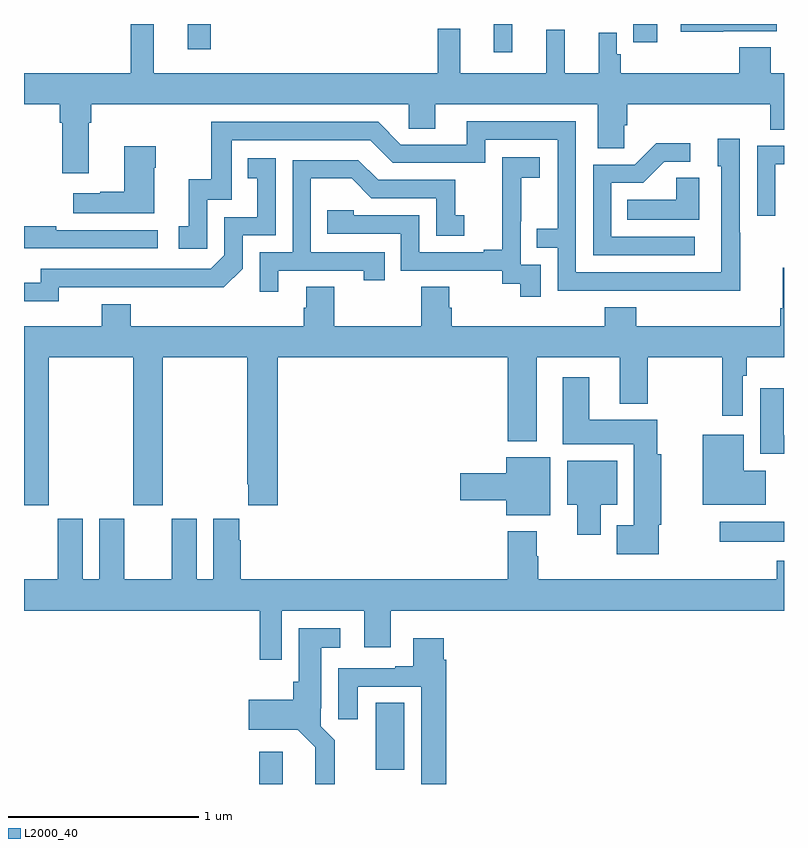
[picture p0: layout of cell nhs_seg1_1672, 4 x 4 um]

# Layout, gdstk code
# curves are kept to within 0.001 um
import gdstk
lib = gdstk.Library(unit=1e-6, precision=1e-09)
def R(c, l, rs):  # rectangles x0, y0, x1, y1
    for r in rs: c.add(gdstk.rectangle(r[:2], r[2:], *l))
def P(c, l, *ps):  # polygons
    for p in ps: c.add(gdstk.Polygon(p, *l))
L2000_40 = (2000, 40)

nhs_seg1_1672 = lib.new_cell('nhs_seg1_1672')
R(nhs_seg1_1672, L2000_40, [(204.239,504.199,204.361,504.37), (204.851,504.273,205,504.626), (206.661,505.475,207,505.579), (205.472,508.05,205.569,508.199), (203.861,508.065,203.983,508.199), (206.206,508.104,206.332,508.199)])
P(nhs_seg1_1672, L2000_40, [(206.681,508.161),(206.961,508.161),(206.961,508.199),(206.457,508.199),(206.457,508.159),(206.681,508.159)],
  [(203,507.776),(203.189,507.776),(203.189,507.68),(203.201,507.68),(203.201,507.414),(203.341,507.414),(203.341,507.68),(203.354,507.68),(203.354,507.776),(205.026,507.776),(205.026,507.649),(205.165,507.649),(205.165,507.776),(206.021,507.776),(206.021,507.544),(206.16,507.544),(206.16,507.667),(206.174,507.667),(206.174,507.776),(206.927,507.776),(206.927,507.643),(207,507.643),(207,507.94),(206.93,507.94),(206.93,508.076),(206.765,508.076),(206.765,507.94),(206.141,507.94),(206.141,508.041),(206.121,508.041),(206.121,508.153),(206.024,508.153),(206.024,507.94),(205.847,507.94),(205.847,508.168),(205.748,508.168),(205.748,507.94),(205.295,507.94),(205.295,508.174),(205.177,508.174),(205.177,507.94),(203.683,507.94),(203.683,508.199),(203.562,508.199),(203.562,507.94),(203,507.94)],
  [(206.769,507.101),(206.766,507.101),(206.766,507.595),(206.651,507.595),(206.651,507.45),(206.67,507.45),(206.67,506.892),(205.905,506.892),(205.905,507.687),(205.331,507.687),(205.331,507.564),(204.984,507.564),(204.864,507.684),(203.985,507.684),(203.985,507.382),(203.867,507.382),(203.867,507.135),(203.814,507.135),(203.814,507.015),(203.964,507.015),(203.964,507.273),(204.093,507.273),(204.093,507.588),(204.822,507.588),(204.942,507.468),(205.428,507.468),(205.428,507.591),(205.809,507.591),(205.809,507.122),(205.699,507.122),(205.699,507.021),(205.809,507.021),(205.809,506.796),(206.769,506.795)],
  [(206.53,507.078),(206.091,507.078),(206.091,507.363),(206.26,507.363),(206.371,507.474),(206.506,507.474),(206.506,507.572),(206.327,507.572),(206.214,507.459),(205.995,507.459),(205.995,506.982),(206.53,506.982)],
  [(206.955,507.462),(207,507.462),(207,507.558),(206.859,507.558),(206.859,507.189),(206.955,507.189)],
  [(203.686,507.443),(203.694,507.443),(203.694,507.556),(203.528,507.556),(203.528,507.317),(203.402,507.317),(203.402,507.307),(203.259,507.307),(203.259,507.203),(203.686,507.203)],
  [(205.719,506.931),(205.614,506.931),(205.614,507.161),(205.616,507.161),(205.616,507.389),(205.714,507.389),(205.714,507.499),(205.516,507.499),(205.516,507.293),(205.517,507.293),(205.517,507.01),(205.421,507.01),(205.421,506.997),(205.08,506.997),(205.08,507.192),(204.735,507.192),(204.735,507.219),(204.595,507.219),(204.595,507.096),(204.984,507.096),(204.984,506.901),(205.518,506.901),(205.518,506.833),(205.611,506.833),(205.611,506.763),(205.719,506.763)],
  [(203.184,506.814),(204.052,506.813),(204.15,506.91),(204.15,507.087),(204.324,507.087),(204.324,507.493),(204.178,507.493),(204.178,507.387),(204.227,507.387),(204.227,507.183),(204.054,507.183),(204.054,506.982),(203.982,506.91),(203.088,506.91),(203.088,506.838),(203,506.838),(203,506.741),(203.184,506.741)],
  [(204.337,506.901),(204.788,506.901),(204.788,506.85),(204.899,506.85),(204.899,506.997),(204.51,506.997),(204.51,507.386),(204.724,507.386),(204.828,507.282),(205.17,507.282),(205.17,507.084),(205.318,507.084),(205.318,507.193),(205.269,507.193),(205.269,507.378),(204.865,507.378),(204.76,507.483),(204.414,507.483),(204.414,506.997),(204.24,506.997),(204.24,506.79),(204.337,506.79)],
  [(206.554,507.389),(206.433,507.389),(206.433,507.274),(206.176,507.274),(206.176,507.17),(206.554,507.17)],
  [(203.704,507.114),(203.171,507.114),(203.171,507.134),(203,507.134),(203,507.018),(203.704,507.018)],
  [(203.13,506.444),(203.575,506.444),(203.575,505.665),(203.73,505.665),(203.73,506.444),(204.175,506.444),(204.175,505.777),(204.179,505.777),(204.179,505.665),(204.335,505.665),(204.335,506.444),(205.547,506.444),(205.547,506.003),(205.699,506.003),(205.699,506.444),(206.135,506.444),(206.135,506.201),(206.283,506.201),(206.283,506.444),(206.676,506.444),(206.676,506.136),(206.784,506.136),(206.784,506.348),(206.804,506.348),(206.804,506.444),(207,506.444),(207,506.917),(206.993,506.917),(206.993,506.704),(206.981,506.704),(206.981,506.608),(206.222,506.608),(206.222,506.707),(206.057,506.707),(206.057,506.608),(205.25,506.608),(205.25,506.706),(205.237,506.706),(205.237,506.816),(205.09,506.816),(205.09,506.608),(204.633,506.608),(204.633,506.816),(204.485,506.816),(204.485,506.706),(204.473,506.706),(204.473,506.608),(203.561,506.608),(203.561,506.725),(203.408,506.725),(203.408,506.608),(203,506.608),(203,505.665),(203.13,505.665)],
  [(206.34,505.563),(206.353,505.563),(206.353,505.935),(206.332,505.935),(206.332,506.116),(205.975,506.116),(205.975,506.341),(205.835,506.341),(205.835,505.988),(206.21,505.988),(206.21,505.561),(206.12,505.561),(206.12,505.409),(206.34,505.409)],
  [(207,506.034),(206.998,506.034),(206.998,506.281),(206.876,506.281),(206.876,505.938),(207,505.938)],
  [(206.905,505.849),(206.788,505.849),(206.788,506.038),(206.573,506.038),(206.573,505.67),(206.905,505.67)],
  [(205.771,505.918),(205.538,505.918),(205.538,505.835),(205.296,505.835),(205.296,505.693),(205.538,505.693),(205.538,505.613),(205.771,505.613)],
  [(206.035,505.67),(206.122,505.67),(206.122,505.9),(205.859,505.9),(205.859,505.67),(205.913,505.67),(205.913,505.512),(206.035,505.512)],
  [(204.357,505.112),(204.791,505.112),(204.791,504.918),(204.931,504.918),(204.931,505.112),(207,505.112),(207,505.375),(206.963,505.375),(206.963,505.276),(205.707,505.276),(205.707,505.397),(205.699,505.397),(205.699,505.528),(205.547,505.528),(205.547,505.276),(204.14,505.276),(204.14,505.481),(204.133,505.481),(204.133,505.594),(203.996,505.594),(203.996,505.276),(203.908,505.276),(203.908,505.594),(203.777,505.594),(203.777,505.276),(203.527,505.276),(203.527,505.594),(203.396,505.594),(203.396,505.276),(203.308,505.276),(203.308,505.594),(203.177,505.594),(203.177,505.276),(203,505.276),(203,505.112),(204.241,505.112),(204.241,504.852),(204.357,504.852)],
  [(204.635,504.43),(204.561,504.504),(204.561,504.598),(204.565,504.598),(204.565,504.917),(204.664,504.917),(204.664,505.018),(204.446,505.018),(204.446,504.738),(204.416,504.738),(204.416,504.643),(204.183,504.643),(204.183,504.485),(204.441,504.485),(204.534,504.392),(204.533,504.199),(204.635,504.199)],
  [(205.223,504.854),(205.21,504.854),(205.21,504.967),(205.049,504.967),(205.049,504.82),(204.953,504.82),(204.953,504.807),(204.653,504.807),(204.653,504.54),(204.757,504.54),(204.757,504.711),(205.091,504.711),(205.091,504.199),(205.223,504.199)])

lib.write_gds('nhs_seg1_1672.gds')
